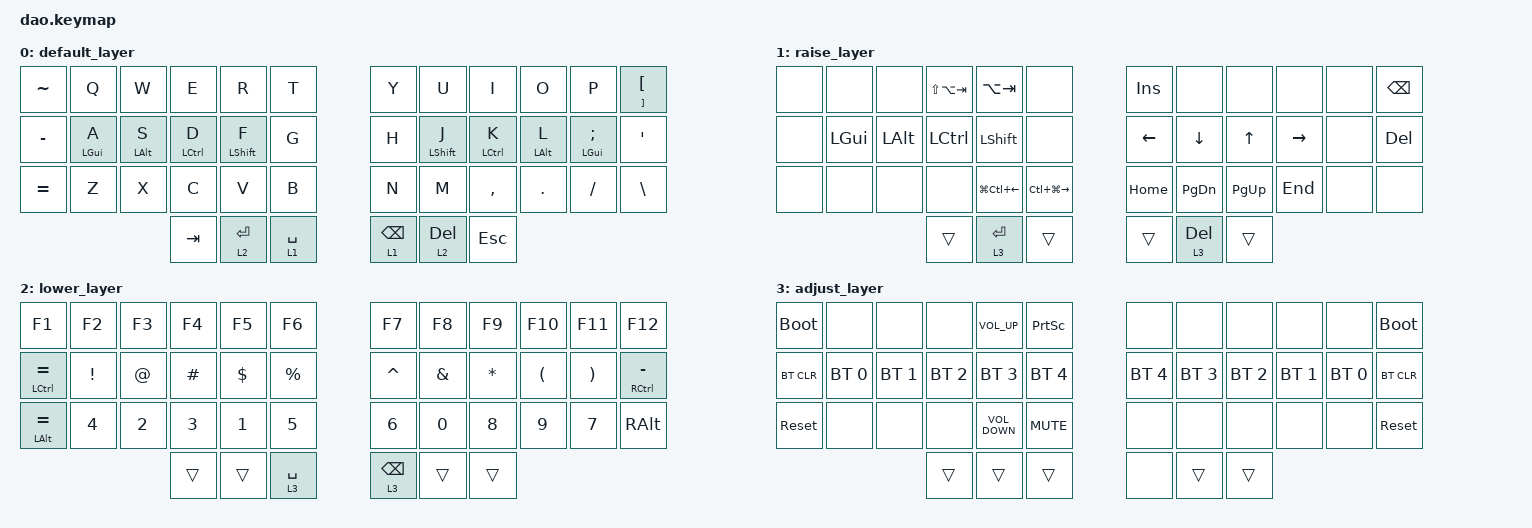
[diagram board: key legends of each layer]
/*
 * Copyright (c) 2021 Rafael Yumagulov
 *
 * SPDX-License-Identifier: MIT
 */

#include <behaviors.dtsi>
#include <dt-bindings/zmk/bt.h>
#include <dt-bindings/zmk/keys.h>

#define DEF 0
#define LWR 1
#define RSE 2
#define ADJ 3

&lt {
    quick_tap_ms = <200>;
};

&mt {
    quick_tap_ms = <200>;
};

/ {
    chosen {
        zmk,matrix_transform = &default_transform;

        // zmk,matrix_transform = &extra_keys_transform;
    };
};

/ {
    combos {
        compatible = "zmk,combos";

        left_parenthesis {
            bindings = <&kp LEFT_PARENTHESIS>;
            key-positions = <15 16>;
        };

        left_bracket {
            bindings = <&kp LEFT_BRACKET>;
            key-positions = <3 4>;
        };

        left_brace {
            bindings = <&kp LEFT_BRACE>;
            key-positions = <27 28>;
        };

        caps {
            bindings = <&caps_word>;
            key-positions = <16 19>;
        };

        right_parenthesis {
            bindings = <&kp RIGHT_PARENTHESIS>;
            key-positions = <19 20>;
        };

        right_brace {
            bindings = <&kp RIGHT_BRACE>;
            key-positions = <31 32>;
        };

        right_bracket {
            bindings = <&kp RIGHT_BRACKET>;
            key-positions = <7 8>;
        };
    };

    keymap {
        compatible = "zmk,keymap";

        default_layer {
            bindings = <
&kp TILDE           &kp Q           &kp W               &kp E             &kp R        &kp T            &kp Y             &kp U               &kp I           &kp O              &kp P  &mt RIGHT_BRACKET LEFT_BRACKET
&kp MINUS  &mt LEFT_GUI A  &mt LEFT_ALT S  &mt LEFT_CONTROL D  &mt LEFT_SHIFT F        &kp G            &kp H  &mt LEFT_SHIFT J  &mt LEFT_CONTROL K  &mt LEFT_ALT L  &mt LEFT_GUI SEMI                &kp SINGLE_QUOTE
&kp EQUAL           &kp Z           &kp X               &kp C             &kp V        &kp B            &kp N             &kp M           &kp COMMA         &kp DOT          &kp SLASH                   &kp BACKSLASH
                                                      &kp TAB       &lt 2 ENTER  &lt 1 SPACE  &lt 1 BACKSPACE      &lt 2 DELETE          &kp ESCAPE
            >;
        };

        raise_layer {
            bindings = <
&none         &none         &none   &kp LS(LA(TAB))             &kp LA(TAB)                    &none  &kp INSERT          &none        &none      &none  &none  &kp BACKSPACE
&none  &kp LEFT_GUI  &kp LEFT_ALT  &kp LEFT_CONTROL          &kp LEFT_SHIFT                    &none    &kp LEFT       &kp DOWN       &kp UP  &kp RIGHT  &none     &kp DELETE
&none         &none         &none             &none  &kp LG(LC(LEFT_ARROW))  &kp LC(LG(RIGHT_ARROW))    &kp HOME  &kp PAGE_DOWN  &kp PAGE_UP    &kp END  &none          &none
                                             &trans             &lt 3 ENTER                   &trans      &trans   &lt 3 DELETE       &trans
            >;
        };

        lower_layer {
            bindings = <
         &kp F1    &kp F2  &kp F3    &kp F4    &kp F5       &kp F6           &kp F7    &kp F8    &kp F9   &kp F10       &kp F11          &kp F12
&mt LCTRL EQUAL  &kp EXCL  &kp AT  &kp HASH  &kp DLLR    &kp PRCNT        &kp CARET  &kp AMPS  &kp STAR  &kp LPAR      &kp RPAR  &mt RCTRL MINUS
 &mt LALT EQUAL    &kp N4  &kp N2    &kp N3    &kp N1       &kp N5           &kp N6    &kp N0    &kp N8    &kp N9  &kp NUMBER_7         &kp RALT
                                     &trans    &trans  &lt 3 SPACE  &lt 3 BACKSPACE    &trans    &trans
            >;
        };

        adjust_layer {
            bindings = <
&bootloader         &none         &none         &none    &kp C_VOLUME_UP  &kp PRINTSCREEN         &none         &none         &none         &none         &none  &bootloader
 &bt BT_CLR  &bt BT_SEL 0  &bt BT_SEL 1  &bt BT_SEL 2       &bt BT_SEL 3     &bt BT_SEL 4  &bt BT_SEL 4  &bt BT_SEL 3  &bt BT_SEL 2  &bt BT_SEL 1  &bt BT_SEL 0   &bt BT_CLR
 &sys_reset         &none         &none         &none  &kp C_VOLUME_DOWN       &kp K_MUTE         &none         &none         &none         &none         &none   &sys_reset
                                               &trans             &trans           &trans         &none        &trans        &trans
            >;
        };
    };
};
